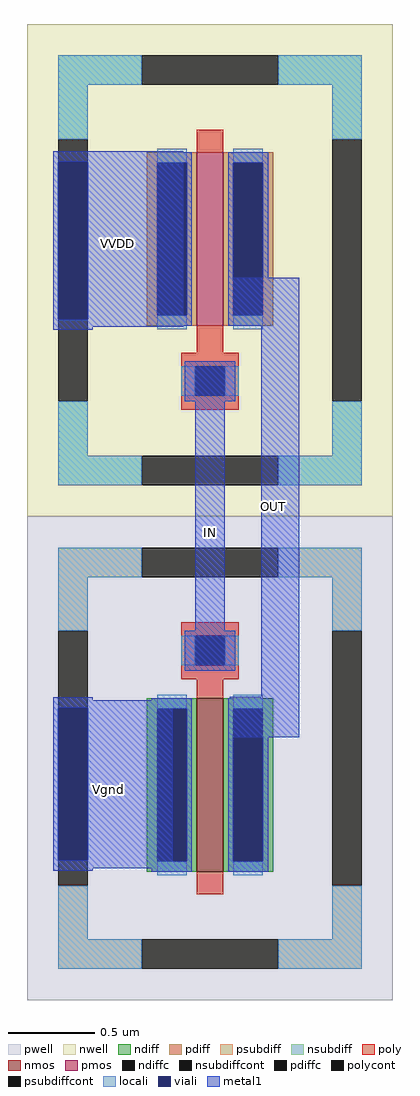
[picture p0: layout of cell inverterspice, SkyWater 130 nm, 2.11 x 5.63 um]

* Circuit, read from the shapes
.subckt inverterspice VVDD Vgnd IN OUT
XM1 OUT IN Vgnd Vgnd sky130_fd_pr__nfet_01v8 w=1 l=0.15
XM2 OUT IN VVDD VVDD sky130_fd_pr__pfet_01v8 w=1 l=0.15
.ends

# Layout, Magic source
magic
tech sky130A
magscale 1 2
<< viali >>
rect 1182 1158 1216 1340
rect 1182 534 1216 710
<< metal1 >>
rect 1176 1340 1326 1352
rect 1176 1158 1182 1340
rect 1216 1158 1326 1340
rect 1176 1150 1326 1158
rect 1378 1153 1460 1206
rect 1176 1146 1222 1150
rect 1340 760 1374 1108
rect 1416 723 1460 1153
rect 1176 719 1222 722
rect 1176 710 1314 719
rect 1176 534 1182 710
rect 1216 534 1314 710
rect 1380 676 1460 723
rect 1176 525 1314 534
rect 1176 522 1222 525
use sky130_fd_pr__pfet_01v8_LGS3BL  XM1
transform 1 0 1357 0 1 1215
box -211 -284 211 284
use sky130_fd_pr__nfet_01v8_64Z3AY  XM2
transform 1 0 1357 0 1 652
box -211 -279 211 279
<< labels >>
flabel metal1 1250 1246 1250 1246 0 FreeSans 160 0 0 0 VVDD
port 1 nsew
flabel metal1 1240 616 1240 616 0 FreeSans 160 0 0 0 Vgnd
port 2 nsew
flabel metal1 1358 912 1358 912 0 FreeSans 160 0 0 0 IN
port 3 nsew
flabel metal1 1430 942 1430 942 0 FreeSans 160 0 0 0 OUT
port 4 nsew
<< end >>

# cell sky130_fd_pr__pfet_01v8_LGS3BL: kit device sky130_fd_pr__pfet_01v8, w 1.0 l 0.15 m 1 nf 1 diffcov 100 polycov 100 guard 1 glc 1 grc 1 gtc 1 gbc 1 tbcov 100 rlcov 100 topc 0 botc 1 poverlap 0 doverlap 1 lmin 0.15 wmin 0.42 compatible {sky130_fd_pr__pfet_01v8 sky130_fd_pr__pfet_01v8_lvt sky130_fd_pr__pfet_01v8_hvt sky130_fd_pr__pfet_g5v0d10v5} full_metal 1 viasrc 100 viadrn 100 viagate 100 viagb 0 viagr 0 viagl 0 viagt 0

# cell sky130_fd_pr__nfet_01v8_64Z3AY: kit device sky130_fd_pr__nfet_01v8, w 1.0 l 0.15 m 1 nf 1 diffcov 100 polycov 100 guard 1 glc 1 grc 1 gtc 1 gbc 1 tbcov 100 rlcov 100 topc 1 botc 0 poverlap 0 doverlap 1 lmin 0.15 wmin 0.42 compatible {sky130_fd_pr__nfet_01v8 sky130_fd_pr__nfet_01v8_lvt sky130_fd_bs_flash__special_sonosfet_star sky130_fd_pr__nfet_g5v0d10v5 sky130_fd_pr__nfet_05v0_nvt sky130_fd_pr__nfet_03v3_nvt} full_metal 1 viasrc 100 viadrn 100 viagate 100 viagb 0 viagr 0 viagl 0 viagt 0
